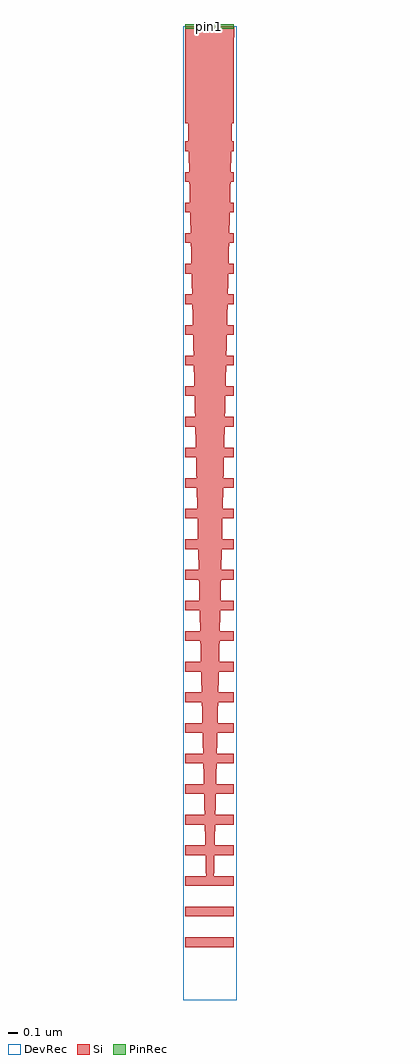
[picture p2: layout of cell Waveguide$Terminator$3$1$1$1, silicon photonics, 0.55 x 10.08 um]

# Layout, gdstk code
import gdstk
lib = gdstk.Library(unit=1e-6, precision=1e-09)
def R(c, l, rs):  # rectangles x0, y0, x1, y1
    for r in rs: c.add(gdstk.rectangle(r[:2], r[2:], *l))
def A(c, l, x, y, w, h, nx, ny, dx, dy):  # array of equal rectangles
    R(c, l, [(x+i*dx, y+j*dy, x+i*dx+w, y+j*dy+h) for i in range(nx) for j in range(ny)])
def P(c, l, *ps):  # polygons
    for p in ps: c.add(gdstk.Polygon(p, *l))
Si = (1, 0)
PinRec = (1, 10)
DevRec = (68, 0)

waveguide_terminator_3_1 = lib.new_cell('Waveguide$Terminator$3$1$1$1')
A(waveguide_terminator_3_1, Si, -0.255, -8.453, 0.5, 0.1, 1, 12, 0, 0.316)
A(waveguide_terminator_3_1, Si, -0.255, -4.345, 0.5, 0.1, 1, 14, 0, 0.316)
R(waveguide_terminator_3_1, Si, [(-0.255,-4.66,0.245,-4.56), (-0.255,0.05,0.245,1.05)])
P(waveguide_terminator_3_1, Si, [(-0.04,-7.8),(-0.25,1.04),(0.25,1.04),(0.04,-7.8)])
R(waveguide_terminator_3_1, DevRec, [(-0.275,-9,0.275,1.05)])
waveguide_terminator_3_1.add(gdstk.FlexPath([(-0.005,1.025),(-0.005,1.075)], 0.5, ends="flush", simple_path=True, layer=1, datatype=10))  # PinRec
waveguide_terminator_3_1.add(gdstk.Label('pin1', (-0.005,1.05), layer=1, texttype=10))

lib.write_gds('Waveguide_Terminator_3_1_1_1.gds')
